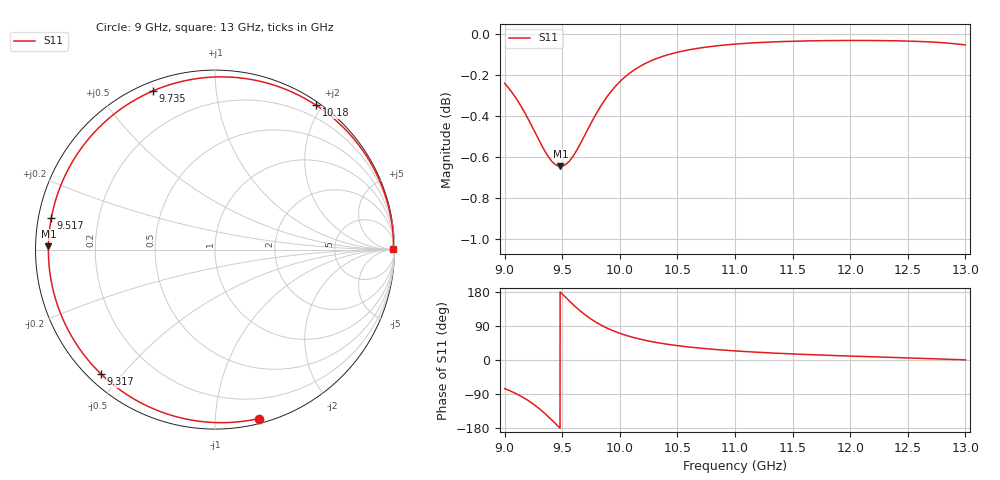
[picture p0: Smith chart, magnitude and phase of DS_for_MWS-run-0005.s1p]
! TOUCHSTONE file generated by CST DESIGN STUDIO
! Date and time: Tue Feb  4 14:25:31 2025
! Project name: C:\Work\MatlabApps\UnitCellOptimizationMatlab\CST\unitcell.cst
! Tree item: Tasks\Sweep1\SPara1\S-Parameters
! Header version: 2024
! Port assignment regex: !\s*Touchstone port\s*([0-9]+)\s*=\s*(CST MWS port|CST DES external port|CST DES block port)\s*(.+)\s* \(\"(.*)\"\)(\s*mode\s*([0-9]+))?.*
! Touchstone port assignment:
! Touchstone port 1 = CST DES external port 1 ("")
# GHz S MA R 50
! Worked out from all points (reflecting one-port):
!   4001 points, 9 GHz to 13 GHz, reference 50 ohm
!   lowest |S11| = -0.6 dB at 9.485 GHz (marker M1), VSWR 26.95, Z = 1.86 + j0.503 ohm
!   phase of S11 starts at -76 deg and turns -284 deg over the sweep
!   S11 on the Smith chart (normalised r, x): 9 GHz: 0.04, -1.29; 9.317 GHz: 0.04, -0.44; 9.517 GHz: 0.04, +0.10; 9.735 GHz: 0.04, +0.68; 10.18 GHz: 0.04, +1.92; 13 GHz: open
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9  0.9726 -75.5
9.082  0.966 -86.2
9.182  0.9559 -102.7
9.252  0.9477 -117.0
9.317  0.9399 -132.6
9.361  0.9352 -144.4
9.408  0.9312 -157.8
9.447  0.9291 -169.5
9.485  0.9284 178.8
9.5  0.9285 174.2
9.517  0.9289 169.1
9.569  0.9317 153.5
9.629  0.9371 136.7
9.681  0.943 123.5
9.735  0.9494 111.3
9.788  0.9554 100.7
9.847  0.9614 90.5
9.922  0.968 79.7
10  0.9734 70.4
10.175  0.9819 55.0
10.323  0.9863 45.9
10.5  0.9896 37.9
10.722  0.9922 30.6
11  0.9942 24.0
11.5  0.9958 16.0
12  0.9962 10.3
12.5  0.9958 5.5
13  0.9937 0.3
